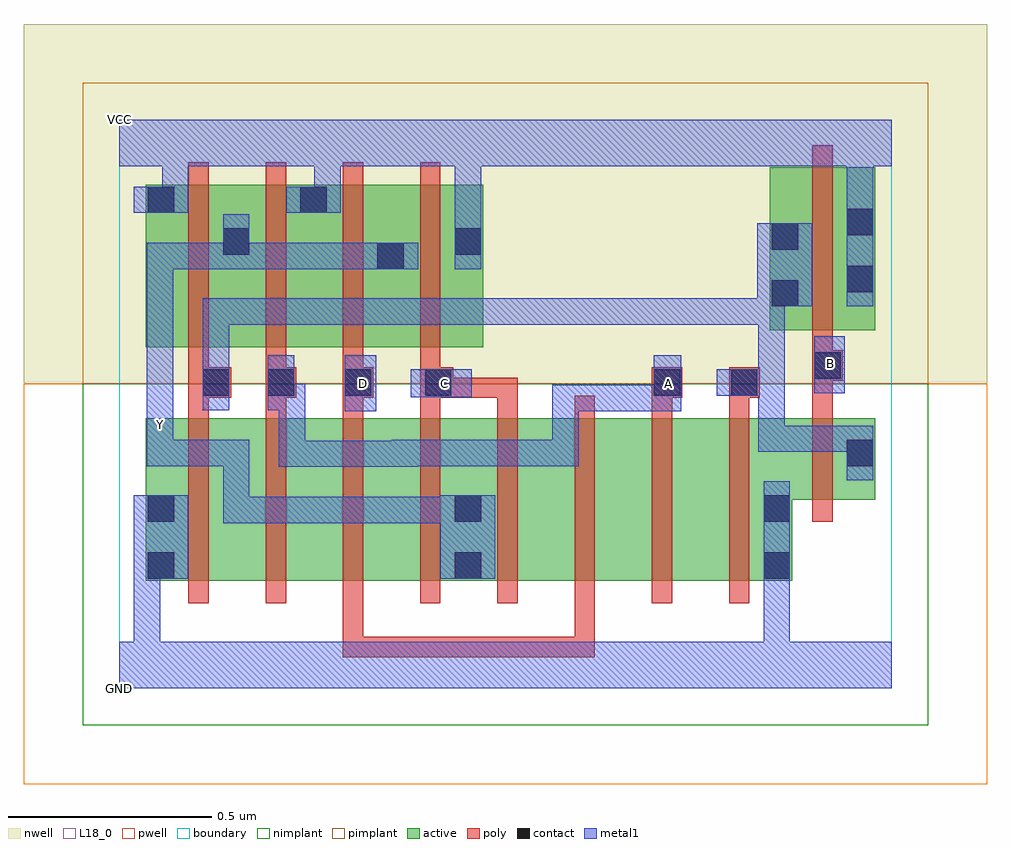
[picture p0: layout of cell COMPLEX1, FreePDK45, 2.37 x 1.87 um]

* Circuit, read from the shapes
.subckt COMPLEX1 A B C D GND VCC Y
M1 n1 n2 GND VSUBS nfet w=0.4u l=0.05u
M2 n3 A n1 VSUBS nfet w=0.4u l=0.05u
M3 n4 D n3 VSUBS nfet w=0.4u l=0.05u
M4 Y C n4 VSUBS nfet w=0.4u l=0.05u
M5 n5 C Y VSUBS nfet w=0.4u l=0.05u
M6 n6 D n5 VSUBS nfet w=0.4u l=0.05u
M7 n7 A n6 VSUBS nfet w=0.4u l=0.05u
M8 GND n2 n7 VSUBS nfet w=0.4u l=0.05u
M9 n2 B GND VSUBS nfet w=0.2u l=0.05u
M10 Y n2 VCC n8 pfet w=0.4u l=0.05u
M11 VCC A Y n8 pfet w=0.4u l=0.05u
M12 Y D VCC n8 pfet w=0.4u l=0.05u
M13 VCC C Y n8 pfet w=0.4u l=0.05u
M14 VCC B n2 n8 pfet w=0.4u l=0.05u
.ends

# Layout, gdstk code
import gdstk
lib = gdstk.Library(unit=1e-6, precision=1e-09)
def R(c, l, rs):  # rectangles x0, y0, x1, y1
    for r in rs: c.add(gdstk.rectangle(r[:2], r[2:], *l))
def A(c, l, x, y, w, h, nx, ny, dx, dy):  # array of equal rectangles
    R(c, l, [(x+i*dx, y+j*dy, x+i*dx+w, y+j*dy+h) for i in range(nx) for j in range(ny)])
active = (1, 0)
pwell = (2, 0)
nwell = (3, 0)
nimplant = (4, 0)
pimplant = (5, 0)
poly = (9, 0)
contact = (10, 0)
metal1 = (11, 0)
L18_0 = (18, 0)
boundary = (235, 0)

complex1 = lib.new_cell('COMPLEX1')
A(complex1, active, 0.25, 0.84, 0.265, 0.4, 3, 1, 0.19, 0)
R(complex1, active, [(0.065,0.265,0.29,0.665), (0.065,0.265,0.14,0.665), (0.29,0.265,0.48,0.665), (0.48,0.265,0.67,0.665), (0.67,0.265,0.895,0.665), (0.82,0.265,1.05,0.665), (0.82,0.265,0.895,0.617), (1.05,0.265,1.24,0.665), (1.24,0.265,1.43,0.665), (1.43,0.265,1.655,0.665), (1.58,0.265,1.655,0.597), (1.58,0.465,1.86,0.665), (1.785,0.495,1.86,0.665), (0.065,0.84,0.14,1.24), (0.065,0.84,0.325,1.24), (0.82,0.84,0.895,1.205), (1.6,0.882,1.86,1.282), (1.6,0.882,1.675,1.2), (1.785,0.882,1.86,1.205), (0.25,0.907,0.325,1.2), (0.44,0.907,0.515,1.24), (0.63,0.907,0.705,1.2)])
R(complex1, pwell, [(-0.235,-0.235,2.135,0.75)])
R(complex1, nwell, [(-0.235,0.75,2.135,1.635)])
R(complex1, nimplant, [(-0.09,-0.09,1.99,0.75)])
R(complex1, pimplant, [(-0.09,0.75,1.99,1.49)])
A(complex1, poly, 0.17, 0.21, 0.05, 0.51, 8, 1, 0.19, 0)
A(complex1, poly, 0.17, 0.67, 0.05, 0.095, 5, 1, 0.19, 0)
A(complex1, poly, 0.17, 0.74, 0.05, 0.095, 4, 1, 0.19, 0)
A(complex1, poly, 0.17, 0.785, 0.05, 0.51, 4, 1, 0.19, 0)
R(complex1, poly, [(0.55,0.077,0.6,0.26), (0.55,0.077,0.6,0.127), (0.55,0.077,0.6,0.127), (0.55,0.077,0.6,0.127), (0.55,0.077,0.847,0.127), (0.797,0.077,0.847,0.127), (0.797,0.077,0.847,0.127), (0.797,0.077,0.847,0.127), (0.797,0.077,1.037,0.127), (0.987,0.077,1.037,0.127), (0.987,0.077,1.17,0.127), (1.12,0.077,1.17,0.26), (1.12,0.077,1.17,0.127), (1.12,0.077,1.17,0.127), (1.12,0.077,1.17,0.127), (1.705,0.41,1.755,0.72), (1.31,0.67,1.36,0.765), (1.5,0.67,1.55,0.765), (1.705,0.67,1.755,0.807), (0.17,0.715,0.275,0.79), (0.36,0.715,0.435,0.79), (0.55,0.715,0.625,0.79), (0.74,0.715,0.822,0.79), (0.772,0.715,0.98,0.765), (0.93,0.715,0.98,0.765), (0.93,0.715,0.98,0.765), (0.93,0.715,0.98,0.765), (1.31,0.715,1.385,0.79), (1.5,0.715,1.575,0.79), (1.705,0.757,1.78,0.832), (1.705,0.782,1.755,0.877), (1.705,0.827,1.755,1.337)])
R(complex1, contact, [(0.07,0.27,0.135,0.335), (0.825,0.27,0.89,0.335), (1.585,0.27,1.65,0.335), (0.07,0.41,0.135,0.475), (0.825,0.41,0.89,0.475), (1.585,0.41,1.65,0.475), (1.79,0.547,1.855,0.612), (0.205,0.72,0.27,0.785), (0.365,0.72,0.43,0.785), (0.555,0.72,0.62,0.785), (0.752,0.72,0.817,0.785), (1.315,0.72,1.38,0.785), (1.505,0.72,1.57,0.785), (1.71,0.762,1.775,0.827), (1.605,0.94,1.67,1.005), (1.79,0.975,1.855,1.04), (0.635,1.032,0.7,1.097), (0.255,1.067,0.32,1.132), (0.825,1.067,0.89,1.132), (1.605,1.08,1.67,1.145), (1.79,1.115,1.855,1.18), (0.07,1.17,0.135,1.235), (0.445,1.17,0.51,1.235)])
R(complex1, metal1, [(0,0,1.9,0.115), (0.035,0.05,0.1,0.115), (0.035,0.05,0.1,0.115), (0.035,0.05,0.1,0.335), (1.585,0.05,1.65,0.3), (1.585,0.235,1.65,0.51), (1.585,0.235,1.65,0.3), (1.585,0.235,1.65,0.3), (0.035,0.27,0.17,0.475), (0.79,0.27,0.925,0.475), (0.255,0.407,0.32,0.472), (0.255,0.407,0.457,0.472), (0.255,0.407,0.32,0.612), (0.392,0.407,0.457,0.472), (0.392,0.407,0.457,0.472), (0.392,0.407,0.457,0.472), (0.392,0.407,0.595,0.472), (0.53,0.407,0.595,0.472), (0.53,0.407,0.595,0.472), (0.53,0.407,0.595,0.472), (0.53,0.407,0.855,0.472), (0.79,0.407,0.855,0.472), (0.79,0.407,0.855,0.472), (1.79,0.512,1.855,0.647), (0.392,0.545,0.457,0.61), (0.392,0.545,0.595,0.61), (0.392,0.545,0.457,0.75), (0.53,0.545,0.595,0.61), (0.53,0.545,0.595,0.61), (0.53,0.545,0.595,0.61), (0.53,0.545,0.735,0.61), (0.67,0.545,0.735,0.612), (0.067,0.547,0.132,0.612), (0.067,0.547,0.132,0.612), (0.067,0.547,0.132,0.612), (0.067,0.547,0.132,0.612), (0.067,0.547,0.32,0.612), (0.067,0.547,0.132,0.717), (0.255,0.547,0.32,0.612), (0.67,0.547,0.992,0.612), (0.927,0.547,0.992,0.612), (0.927,0.547,0.992,0.612), (0.927,0.547,0.992,0.612), (0.927,0.547,1.13,0.612), (1.065,0.547,1.13,0.747), (1.065,0.547,1.13,0.612), (1.572,0.582,1.637,0.647), (1.572,0.582,1.855,0.647), (1.572,0.582,1.637,0.785), (1.79,0.582,1.855,0.647), (1.79,0.582,1.855,0.647), (0.067,0.652,0.132,1.097), (0.555,0.682,0.632,0.82), (1.065,0.682,1.13,0.747), (1.065,0.682,1.13,0.747), (1.065,0.682,1.13,0.747), (1.065,0.682,1.267,0.747), (1.202,0.682,1.267,0.747), (1.202,0.682,1.38,0.747), (1.315,0.682,1.382,0.82), (0.205,0.685,0.27,0.82), (0.365,0.685,0.43,0.82), (0.365,0.685,0.457,0.75), (0.392,0.685,0.457,0.75), (0.717,0.717,0.867,0.785), (1.47,0.72,1.605,0.785), (1.54,0.72,1.637,0.785), (1.572,0.72,1.637,0.785), (1.572,0.72,1.637,1.005), (1.71,0.727,1.785,0.867), (0.205,0.755,0.27,0.82), (0.205,0.755,0.27,0.82), (0.205,0.755,0.27,0.96), (0.205,0.895,0.27,0.96), (0.205,0.895,0.457,0.96), (0.392,0.895,0.457,0.96), (0.392,0.895,0.457,0.96), (0.392,0.895,0.457,0.96), (0.392,0.895,0.595,0.96), (0.53,0.895,0.595,0.96), (0.53,0.895,0.717,0.96), (0.652,0.895,0.717,0.96), (0.652,0.895,0.732,0.96), (0.667,0.895,0.732,0.96), (0.667,0.895,0.992,0.96), (0.927,0.895,0.992,0.96), (0.927,0.895,0.992,0.96), (0.927,0.895,0.992,0.96), (0.927,0.895,1.13,0.96), (1.065,0.895,1.13,0.96), (1.065,0.895,1.13,0.96), (1.065,0.895,1.13,0.96), (1.065,0.895,1.36,0.96), (1.295,0.895,1.36,0.96), (1.295,0.895,1.36,0.96), (1.295,0.895,1.36,0.96), (1.295,0.895,1.497,0.96), (1.432,0.895,1.497,0.96), (1.432,0.895,1.635,0.96), (1.57,0.895,1.635,1.005), (1.57,0.94,1.635,1.005), (1.57,0.94,1.705,1.145), (1.79,0.94,1.855,1.215), (0.067,1.032,0.132,1.097), (0.067,1.032,0.132,1.097), (0.067,1.032,0.132,1.097), (0.067,1.032,0.132,1.097), (0.067,1.032,0.132,1.097), (0.067,1.032,0.32,1.097), (0.255,1.032,0.32,1.167), (0.255,1.032,0.457,1.097), (0.392,1.032,0.457,1.097), (0.392,1.032,0.457,1.097), (0.392,1.032,0.457,1.097), (0.392,1.032,0.595,1.097), (0.53,1.032,0.595,1.097), (0.53,1.032,0.665,1.097), (0.6,1.032,0.735,1.097), (0.825,1.032,0.89,1.167), (0.825,1.102,0.89,1.35), (1.79,1.15,1.855,1.35), (0.035,1.17,0.17,1.235), (0.105,1.17,0.17,1.35), (0.41,1.17,0.545,1.235), (0.48,1.17,0.545,1.35), (0,1.285,1.9,1.4)])
R(complex1, L18_0, [(0,0,1.9,0.115), (0.035,0.05,0.1,0.115), (0.035,0.05,0.1,0.115), (0.035,0.05,0.1,0.335), (1.585,0.05,1.65,0.3), (1.585,0.235,1.65,0.3), (1.585,0.235,1.65,0.3), (1.585,0.235,1.65,0.51), (0.035,0.27,0.17,0.475), (0.79,0.27,0.925,0.475), (0.255,0.407,0.32,0.472), (0.255,0.407,0.32,0.612), (0.255,0.407,0.457,0.472), (0.392,0.407,0.457,0.472), (0.392,0.407,0.457,0.472), (0.392,0.407,0.457,0.472), (0.392,0.407,0.595,0.472), (0.53,0.407,0.595,0.472), (0.53,0.407,0.595,0.472), (0.53,0.407,0.595,0.472), (0.53,0.407,0.855,0.472), (0.79,0.407,0.855,0.472), (0.79,0.407,0.855,0.472), (0.392,0.545,0.457,0.61), (0.392,0.545,0.457,0.75), (0.392,0.545,0.595,0.61), (0.53,0.545,0.595,0.61), (0.53,0.545,0.595,0.61), (0.53,0.545,0.595,0.61), (0.53,0.545,0.735,0.61), (0.67,0.545,0.735,0.612), (0.067,0.547,0.132,0.612), (0.067,0.547,0.132,0.612), (0.067,0.547,0.132,0.612), (0.067,0.547,0.132,0.612), (0.067,0.547,0.132,0.717), (0.067,0.547,0.32,0.612), (0.255,0.547,0.32,0.612), (0.67,0.547,0.992,0.612), (0.927,0.547,0.992,0.612), (0.927,0.547,0.992,0.612), (0.927,0.547,0.992,0.612), (0.927,0.547,1.13,0.612), (1.065,0.547,1.13,0.612), (1.065,0.547,1.13,0.747), (0.067,0.617,0.132,0.682), (0.067,0.652,0.132,1.097), (0.555,0.682,0.632,0.82), (1.065,0.682,1.13,0.747), (1.065,0.682,1.13,0.747), (1.065,0.682,1.13,0.747), (1.065,0.682,1.267,0.747), (1.202,0.682,1.267,0.747), (1.202,0.682,1.38,0.747), (1.315,0.682,1.382,0.82), (0.365,0.685,0.43,0.82), (0.365,0.685,0.457,0.75), (0.392,0.685,0.457,0.75), (0.567,0.717,0.632,0.782), (0.717,0.717,0.867,0.785), (0.767,0.717,0.832,0.782), (1.317,0.717,1.382,0.782), (1.71,0.727,1.785,0.867), (1.717,0.767,1.782,0.832), (1.79,0.94,1.855,1.215), (0.067,1.032,0.132,1.097), (0.067,1.032,0.132,1.097), (0.067,1.032,0.132,1.097), (0.067,1.032,0.132,1.097), (0.067,1.032,0.132,1.097), (0.067,1.032,0.32,1.097), (0.255,1.032,0.32,1.167), (0.255,1.032,0.457,1.097), (0.392,1.032,0.457,1.097), (0.392,1.032,0.457,1.097), (0.392,1.032,0.457,1.097), (0.392,1.032,0.595,1.097), (0.53,1.032,0.595,1.097), (0.53,1.032,0.665,1.097), (0.6,1.032,0.735,1.097), (0.825,1.032,0.89,1.167), (0.825,1.102,0.89,1.35), (1.79,1.15,1.855,1.35), (0.035,1.17,0.17,1.235), (0.105,1.17,0.17,1.35), (0.41,1.17,0.545,1.235), (0.48,1.17,0.545,1.35), (0,1.285,1.9,1.4)])
R(complex1, boundary, [(0,0,1.9,1.4)])
complex1.add(gdstk.Label('A', (1.35,0.75), layer=11, texttype=0))
complex1.add(gdstk.Label('B', (1.75,0.8), layer=11, texttype=0))
complex1.add(gdstk.Label('C', (0.8,0.75), layer=11, texttype=0))
complex1.add(gdstk.Label('D', (0.6,0.75), layer=11, texttype=0))
complex1.add(gdstk.Label('Y', (0.1,0.65), layer=11, texttype=0))
complex1.add(gdstk.Label('VCC', (0,1.4), layer=11, texttype=0))
complex1.add(gdstk.Label('GND', (0,0), layer=11, texttype=0))

lib.write_gds('COMPLEX1.gds')
